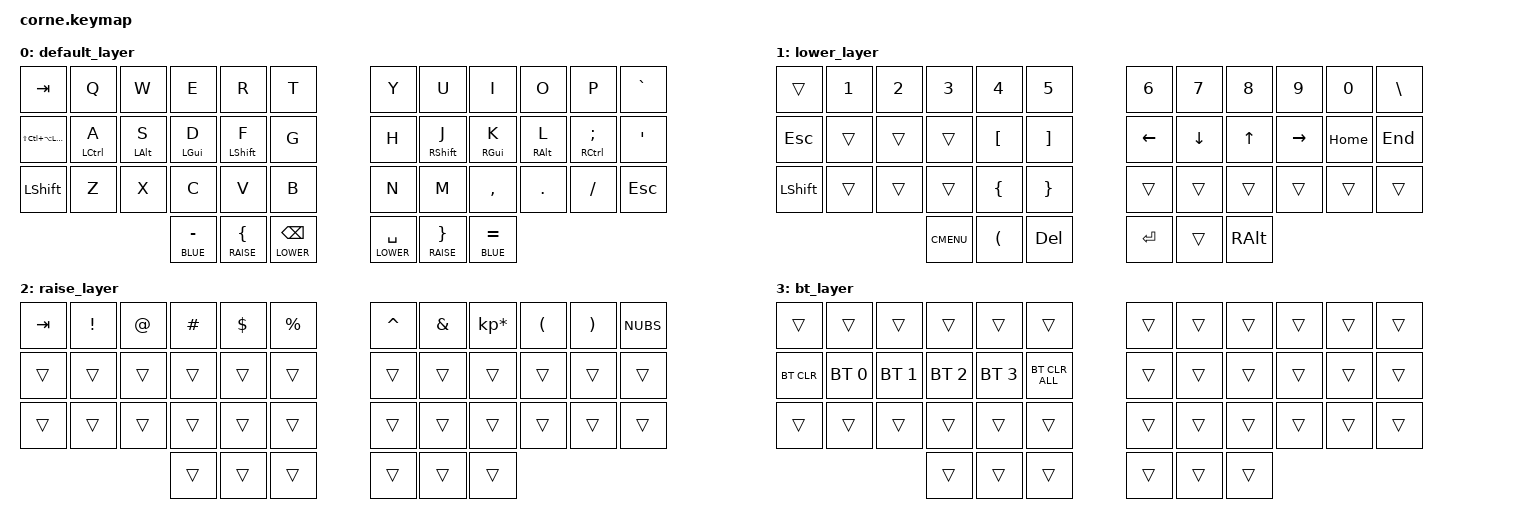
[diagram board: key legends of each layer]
/*
 * Copyright (c) 2020 The ZMK Contributors
 *
 * SPDX-License-Identifier: MIT
 */

#define DEFAULT 0
#define LOWER   1
#define RAISE   2
#define BLUE    3

#define HYP LS(LC(LA(LGUI)))

#include <behaviors.dtsi>
#include <dt-bindings/zmk/keys.h>
#include <dt-bindings/zmk/bt.h>

/ {

    behaviors {
        hm: homerow_mods {
            compatible = "zmk,behavior-hold-tap";
            label = "HOMEROW_MODS";
            #binding-cells = <2>;
            tapping-term-ms = <150>;
            quick-tap-ms = <150>;
            flavor = "tap-preferred";
            bindings = <&kp>, <&kp>;
        };
        hl: hold_layer {
            compatible = "zmk,behavior-hold-tap";
            label = "HOLD_LAYER";
            #binding-cells = <2>;
            tapping-term-ms = <150>;
            quick-tap-ms = <150>;
            flavor = "tap-preferred";
            bindings = <&mo>, <&kp>;
        };
    };

    keymap {
        compatible = "zmk,keymap";
        default_layer {
            bindings = <
                &kp TAB &kp Q &kp W &kp E &kp R &kp T &kp Y &kp U &kp I &kp O &kp P &kp GRAVE
                &kp HYP &hm LCTRL A &hm LALT S &hm LGUI D &hm LSHIFT F &kp G &kp H &hm RSHIFT J &hm RGUI K &hm RALT L &hm RCTRL SEMI &kp SQT
                &kp LSHFT &kp Z &kp X &kp C &kp V &kp B &kp N &kp M &kp COMMA &kp DOT &kp FSLH &kp ESC
                &hl BLUE MINUS &hl RAISE LBRC &hl LOWER BSPC &hl LOWER SPACE &hl RAISE RBRC &hl BLUE EQUAL
            >;
        };
        
        lower_layer {
            bindings = <
                &trans &kp N1 &kp N2 &kp N3 &kp N4 &kp N5 &kp N6 &kp N7 &kp N8 &kp N9 &kp N0 &kp BSLH
                &kp ESC &trans &trans &trans &kp LBKT &kp RBKT &kp LEFT &kp DOWN &kp UP &kp RIGHT &kp HOME &kp END
                &kp LSHFT &trans &trans &trans &kp LBRC &kp RBRC &trans &trans &trans &trans &trans &trans
                &kp K_CMENU &kp LPAR &kp DEL &kp RET &trans &kp RALT
            >;
        };

        raise_layer {
            bindings = <
                &kp  TAB &kp EXCL &kp AT &kp HASH &kp DLLR &kp PRCNT &kp CARET &kp AMPS &kp KP_MULTIPLY &kp LPAR &kp RPAR &kp NUBS
                &trans &trans &trans &trans &trans &trans &trans &trans &trans &trans &trans &trans
                &trans &trans &trans &trans &trans &trans &trans &trans &trans &trans &trans &trans
                &trans &trans &trans &trans &trans &trans
            >;
        };

        bt_layer {
            bindings = <
                &trans &trans &trans &trans &trans &trans &trans &trans &trans &trans &trans &trans
                &bt BT_CLR &bt BT_SEL 0 &bt BT_SEL 1 &bt BT_SEL 2 &bt BT_SEL 3 &bt BT_CLR_ALL &trans &trans &trans &trans &trans &trans   
                &trans &trans &trans &trans &trans &trans &trans &trans &trans &trans &trans &trans
                &trans &trans &trans &trans &trans &trans
            >;
        };
    };
};
